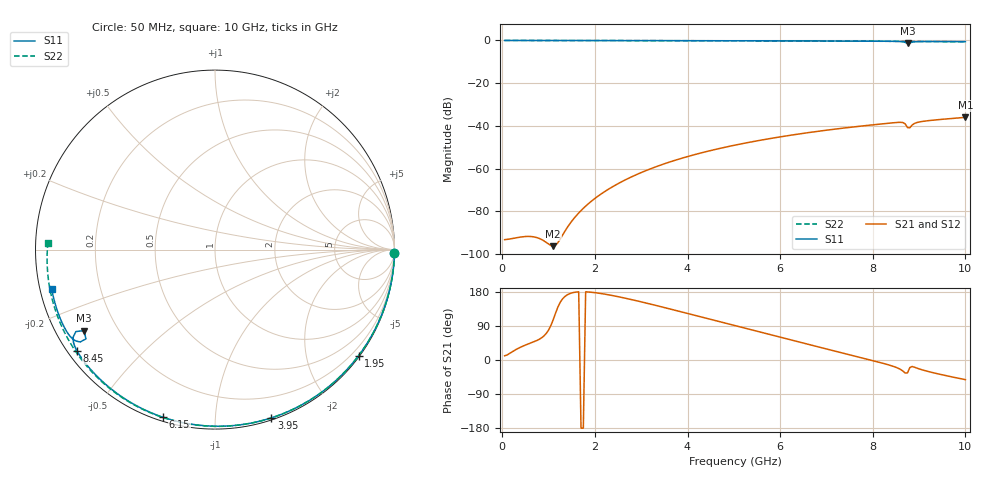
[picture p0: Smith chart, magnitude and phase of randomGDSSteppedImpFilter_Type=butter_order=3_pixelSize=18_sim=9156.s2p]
! freq	dB(S11)	phase(S11)	dB(S12)	phase(S12)
!  dB(S21)	phase(S21)	dB(S22)	phase(S22)
!S-par simulation data
#  GHz  S  DB  R 50
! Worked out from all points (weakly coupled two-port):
!   200 points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, 50 MHz to 10 GHz, reference 50 ohm
!   highest |S21| = -36.02 dB at 10 GHz (marker M1); lowest = -96.4 dB at 1.1 GHz (marker M2)
!   lowest |S11| = -1.3 dB at 8.75 GHz (marker M3), VSWR 13.07, Z = 4.13 - j14.1 ohm
!   |S11| at or under -10 dB: nowhere
!   |S22| runs from -0.6 to 0.0 dB; largest |S21 - S12| = 0
!   S11 on the Smith chart (normalised r, x): 50 MHz: open; 1.95 GHz: 0.03, -3.04; 3.95 GHz: 0.02, -1.39; 6.15 GHz: 0.02, -0.74; 8.45 GHz: 0.03, -0.33; 10 GHz: 0.03, -0.12
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0.05  -0.00 -1.0  -93.32 11.1  -93.32 11.1  -0.00 -1.0
1.1  -0.03 -20.7  -96.36 106.5  -96.36 106.5  -0.03 -22.4
1.65  -0.04 -30.9  -80.80 179.9  -80.80 179.9  -0.04 -33.4
1.75  -0.04 -32.7  -78.61 -179.9  -78.61 -179.9  -0.04 -35.4
1.95  -0.05 -36.4  -74.84 178.4  -74.84 178.4  -0.05 -39.3
2.25  -0.05 -41.8  -70.25 173.0  -70.25 173.0  -0.06 -45.2
2.6  -0.06 -48.1  -65.92 164.6  -65.92 164.6  -0.07 -51.9
3.4  -0.08 -62.1  -58.52 141.5  -58.52 141.5  -0.09 -67.0
3.95  -0.10 -71.5  -54.70 124.4  -54.70 124.4  -0.11 -77.1
5.05  -0.14 -89.7  -48.92 89.7  -48.92 89.7  -0.15 -96.6
6.15  -0.19 -107.1  -44.65 55.4  -44.65 55.4  -0.21 -115.3
6.7  -0.23 -115.7  -42.90 38.4  -42.90 38.4  -0.24 -124.5
7.55  -0.29 -128.9  -40.59 12.3  -40.59 12.3  -0.31 -138.8
8.35  -0.38 -141.8  -38.76 -13.2  -38.76 -13.2  -0.39 -152.3
8.45  -0.41 -143.7  -38.55 -17.0  -38.55 -17.0  -0.40 -154.1
8.65  -0.64 -148.3  -38.46 -29.1  -38.46 -29.1  -0.42 -157.5
8.7  -0.92 -149.5  -39.06 -34.4  -39.06 -34.4  -0.43 -158.4
8.75  -1.33 -148.3  -40.82 -33.9  -40.82 -33.9  -0.44 -159.3
8.8  -1.17 -145.3  -40.92 -19.9  -40.92 -19.9  -0.44 -160.1
8.9  -0.64 -146.8  -38.88 -19.0  -38.88 -19.0  -0.45 -161.9
9.25  -0.49 -153.9  -37.45 -32.0  -37.45 -32.0  -0.50 -168.2
10  -0.58 -166.5  -36.02 -51.8  -36.02 -51.8  -0.61 177.9
